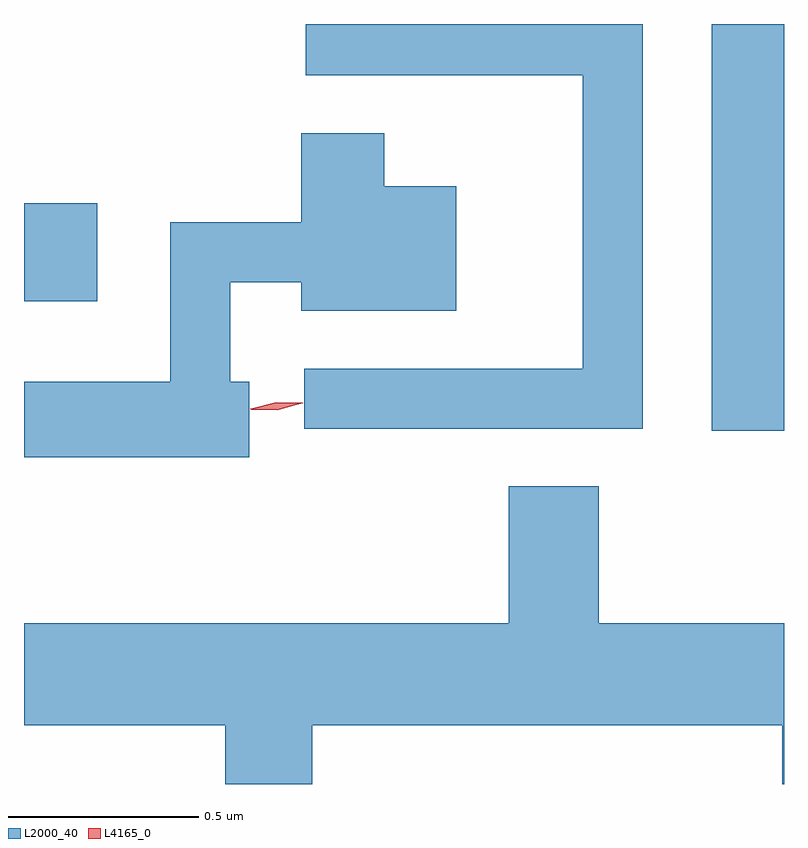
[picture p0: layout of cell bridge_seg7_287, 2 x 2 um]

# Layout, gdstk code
import gdstk
lib = gdstk.Library(unit=1e-6, precision=1e-09)
def R(c, l, rs):  # rectangles x0, y0, x1, y1
    for r in rs: c.add(gdstk.rectangle(r[:2], r[2:], *l))
def P(c, l, *ps):  # polygons
    for p in ps: c.add(gdstk.Polygon(p, *l))
L2000_40 = (2000, 40)
L4165_0 = (4165, 0)

bridge_seg7_287 = lib.new_cell('bridge_seg7_287')
R(bridge_seg7_287, L2000_40, [(1253.851,1763.931,1254.041,1765.001), (1252.041,1764.271,1252.234,1764.529)])
P(bridge_seg7_287, L2000_40, [(1253.669,1765.001),(1252.783,1765.001),(1252.783,1764.866),(1253.511,1764.866),(1253.511,1764.094),(1252.778,1764.094),(1252.778,1763.936),(1253.669,1763.936)],
  [(1252.634,1764.059),(1252.584,1764.059),(1252.584,1764.321),(1252.771,1764.321),(1252.771,1764.246),(1253.179,1764.246),(1253.179,1764.574),(1252.989,1764.574),(1252.989,1764.714),(1252.771,1764.714),(1252.771,1764.479),(1252.426,1764.479),(1252.426,1764.059),(1252.041,1764.059),(1252.041,1763.861),(1252.634,1763.861)],
  [(1252.799,1763.156),(1254.036,1763.156),(1254.036,1763.001),(1254.041,1763.001),(1254.041,1763.424),(1253.554,1763.424),(1253.554,1763.784),(1253.316,1763.784),(1253.316,1763.424),(1252.041,1763.424),(1252.041,1763.156),(1252.571,1763.156),(1252.571,1763.001),(1252.799,1763.001)])
P(bridge_seg7_287, L4165_0, [(1252.707,1763.986),(1252.638,1763.987),(1252.637,1763.988),(1252.638,1763.988),(1252.705,1764.005),(1252.775,1764.004),(1252.775,1764.003),(1252.775,1764.003)],
  [(1252.707,1763.985),(1252.64,1763.986),(1252.639,1763.987),(1252.64,1763.987),(1252.705,1764.005),(1252.772,1764.004),(1252.772,1764.003),(1252.772,1764.003)])

lib.write_gds('bridge_seg7_287.gds')
